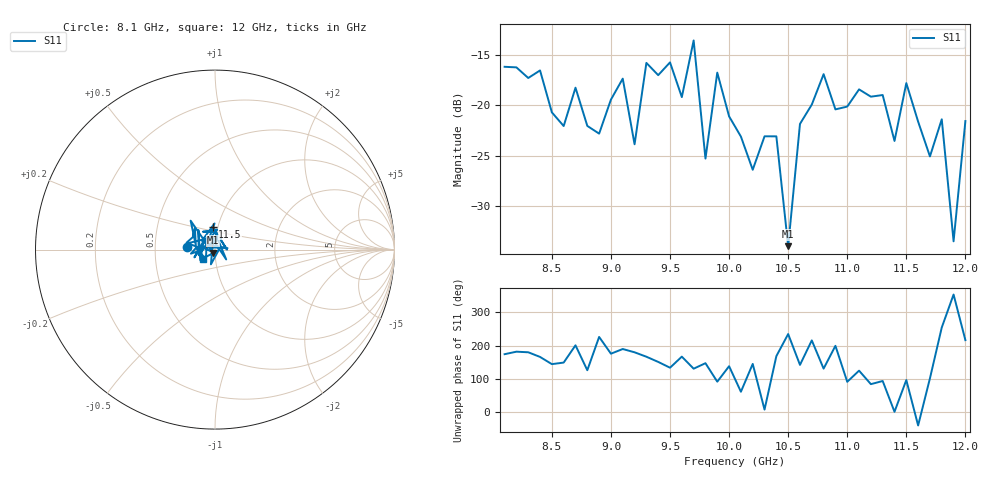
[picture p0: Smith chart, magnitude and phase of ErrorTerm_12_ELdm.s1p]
!  1-Port S-parameters saved by WinCal
! VAR NAME=2-Port SOLT labuser 2
! VAR Error Term Name=ELdm phys rcv port 1 phys src port 2
# Hz S RI R 50
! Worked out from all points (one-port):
!   40 points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, 8.1 GHz to 12 GHz, reference 50 ohm
!   lowest |S11| = -34.0 dB at 10.5 GHz (marker M1), VSWR 1.04, Z = 48.8 - j1.59 ohm
!   |S11| at or under -10 dB: start of sweep to end of sweep
!   S11 on the Smith chart (normalised r, x): 8.1 GHz: 0.73, +0.02; 11.5 GHz: 0.94, +0.25; 12 GHz: 0.87, -0.09
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8.1e9  -0.1549 0.0166
8.4e9  -0.1448 0.0371
8.6e9  -0.0674 0.0412
8.7e9  -0.1147 -0.0433
8.9e9  -0.0503 -0.0521
9.1e9  -0.1341 -0.0225
9.2e9  -0.0641 0.00042
9.3e9  -0.1583 0.0387
9.6e9  -0.1071 0.0257
9.7e9  -0.1358 0.1612
9.8e9  -0.0455 0.0299
9.9e9  -0.00235 0.1457
1.01e10  0.0345 0.061
1.02e10  -0.039 0.0278
1.04e10  -0.0687 0.0146
1.05e10  -0.0115 -0.0163
1.06e10  -0.0635 0.0503
1.08e10  -0.0926 0.1092
1.09e10  -0.0903 -0.0314
1.11e10  -0.0675 0.0995
1.13e10  -0.00577 0.1126
1.14e10  0.0666 5.96e-05
1.15e10  -0.0131 0.1286
1.16e10  0.0625 -0.0548
1.17e10  -0.0106 0.0548
1.18e10  -0.0228 -0.0823
1.19e10  0.021 -0.0022
1.2e10  -0.0674 -0.0496
